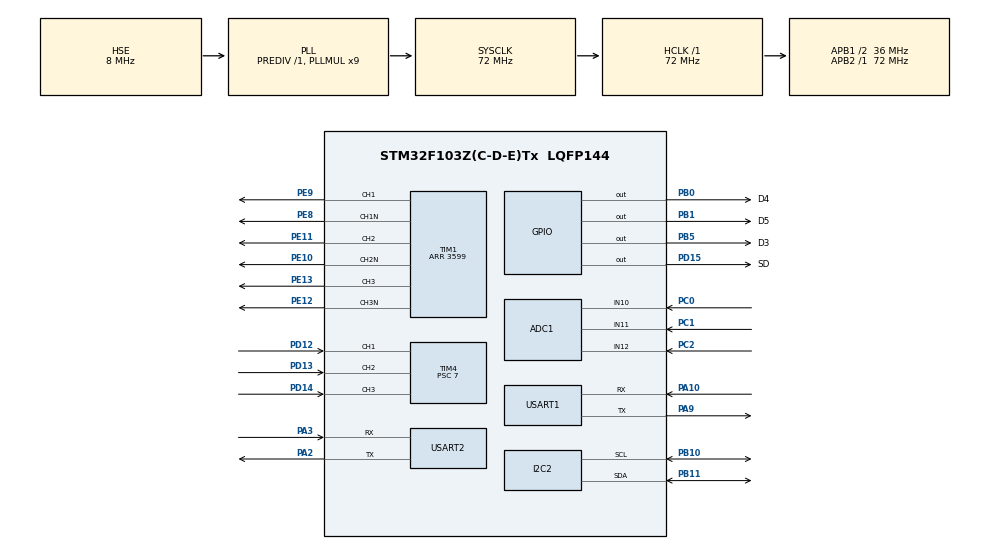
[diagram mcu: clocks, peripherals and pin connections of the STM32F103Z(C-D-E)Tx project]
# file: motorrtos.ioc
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ADC1.Channel-1\#ChannelInjectedConversion=ADC_CHANNEL_10
ADC1.Channel-2\#ChannelInjectedConversion=ADC_CHANNEL_11
ADC1.Channel-3\#ChannelInjectedConversion=ADC_CHANNEL_12
ADC1.EnableInjectedConversion=ENABLE
ADC1.EnableRegularConversion=DISABLE
ADC1.ExternalTrigInjecConv=ADC_EXTERNALTRIGINJECCONV_T1_CC4
ADC1.InjNumberOfConversion=3
ADC1.InjectedOffset-1\#ChannelInjectedConversion=0
ADC1.InjectedOffset-2\#ChannelInjectedConversion=0
ADC1.InjectedOffset-3\#ChannelInjectedConversion=0
ADC1.InjectedRank-1\#ChannelInjectedConversion=1
ADC1.InjectedRank-2\#ChannelInjectedConversion=2
ADC1.InjectedRank-3\#ChannelInjectedConversion=3
ADC1.SamplingTime-1\#ChannelInjectedConversion=ADC_SAMPLETIME_7CYCLES_5
ADC1.SamplingTime-2\#ChannelInjectedConversion=ADC_SAMPLETIME_7CYCLES_5
ADC1.SamplingTime-3\#ChannelInjectedConversion=ADC_SAMPLETIME_7CYCLES_5
ADC1.master=1
Dma.Request0=USART2_TX
Dma.Request1=USART1_RX
Dma.USART1_RX.1.Direction=DMA_PERIPH_TO_MEMORY
Dma.USART1_RX.1.Instance=DMA1_Channel5
Dma.USART1_RX.1.MemDataAlignment=DMA_MDATAALIGN_BYTE
Dma.USART1_RX.1.MemInc=DMA_MINC_ENABLE
Dma.USART1_RX.1.Mode=DMA_NORMAL
Dma.USART1_RX.1.PeriphDataAlignment=DMA_PDATAALIGN_BYTE
Dma.USART1_RX.1.PeriphInc=DMA_PINC_DISABLE
Dma.USART1_RX.1.Priority=DMA_PRIORITY_LOW
Dma.USART2_TX.0.Direction=DMA_MEMORY_TO_PERIPH
Dma.USART2_TX.0.Instance=DMA1_Channel7
Dma.USART2_TX.0.MemDataAlignment=DMA_MDATAALIGN_BYTE
Dma.USART2_TX.0.MemInc=DMA_MINC_ENABLE
Dma.USART2_TX.0.Mode=DMA_NORMAL
Dma.USART2_TX.0.PeriphDataAlignment=DMA_PDATAALIGN_BYTE
Dma.USART2_TX.0.PeriphInc=DMA_PINC_DISABLE
Dma.USART2_TX.0.Priority=DMA_PRIORITY_LOW
I2C2.I2C_Mode=I2C_Fast
Mcu.Family=STM32F1
Mcu.Name=STM32F103Z(C-D-E)Tx
Mcu.Package=LQFP144
NVIC.ADC1_2_IRQn=true\:3\:0\:true\:false\:true\:true\:true
NVIC.DMA1_Channel5_IRQn=true\:5\:0\:true\:false\:true\:false\:true
NVIC.DMA1_Channel7_IRQn=true\:5\:0\:true\:false\:true\:false\:true
NVIC.PriorityGroup=NVIC_PRIORITYGROUP_4
NVIC.TIM2_IRQn=true\:4\:0\:true\:false\:true\:true\:true
NVIC.TIM4_IRQn=true\:2\:0\:true\:false\:true\:true\:true
NVIC.TIM6_IRQn=true\:15\:0\:false\:false\:true\:false\:true
NVIC.TimeBase=TIM6_IRQn
NVIC.TimeBaseIP=TIM6
NVIC.USART1_IRQn=true\:5\:0\:true\:false\:true\:true\:true
NVIC.USART2_IRQn=true\:5\:0\:true\:false\:true\:true\:true
OSC_IN.Mode=HSE-External-Oscillator
OSC_IN.Signal=RCC_OSC_IN
OSC_OUT.Mode=HSE-External-Oscillator
OSC_OUT.Signal=RCC_OSC_OUT
PA10.Mode=Asynchronous
PA10.Signal=USART1_RX
PA13.Mode=Serial_Wire
PA13.Signal=SYS_JTMS-SWDIO
PA14.Mode=Serial_Wire
PA14.Signal=SYS_JTCK-SWCLK
PA2.Mode=Asynchronous
PA2.Signal=USART2_TX
PA3.Mode=Asynchronous
PA3.Signal=USART2_RX
PA9.Mode=Asynchronous
PA9.Signal=USART1_TX
PB0.GPIO_Label=D4
PB0.Signal=GPIO_Output
PB1.GPIO_Label=D5
PB1.Signal=GPIO_Output
PB10.Mode=I2C
PB10.Signal=I2C2_SCL
PB11.Mode=I2C
PB11.Signal=I2C2_SDA
PB5.GPIO_Label=D3
PB5.Signal=GPIO_Output
PC0.Signal=ADCx_IN10
PC1.Signal=ADCx_IN11
PC2.Signal=ADCx_IN12
PD12.Signal=S_TIM4_CH1
PD13.Signal=S_TIM4_CH2
PD14.Signal=S_TIM4_CH3
PD15.GPIO_Label=SD
PD15.Signal=GPIO_Output
PE10.Mode=PWM Generation2 CH2 CH2N
PE10.Signal=TIM1_CH2N
PE11.Signal=S_TIM1_CH2
PE12.Mode=PWM Generation3 CH3 CH3N
PE12.Signal=TIM1_CH3N
PE13.Signal=S_TIM1_CH3
PE8.Mode=PWM Generation1 CH1 CH1N
PE8.Signal=TIM1_CH1N
PE9.Signal=S_TIM1_CH1
ProjectManager.HeapSize=0x200
ProjectManager.StackSize=0x400
ProjectManager.TargetToolchain=MDK-ARM V5.27
RCC.ADCPresc=RCC_ADCPCLK2_DIV6
RCC.AHBFreq_Value=72000000
RCC.APB1CLKDivider=RCC_HCLK_DIV2
RCC.APB1Freq_Value=36000000
RCC.APB1TimFreq_Value=72000000
RCC.APB2Freq_Value=72000000
RCC.APB2TimFreq_Value=72000000
RCC.HCLKFreq_Value=72000000
RCC.PLLMUL=RCC_PLL_MUL9
RCC.PLLSourceVirtual=RCC_PLLSOURCE_HSE
RCC.SYSCLKFreq_VALUE=72000000
RCC.SYSCLKSource=RCC_SYSCLKSOURCE_PLLCLK
RCC.USBFreq_Value=72000000
SH.ADCx_IN10.0=ADC1_IN10,IN10
SH.ADCx_IN11.0=ADC1_IN11,IN11
SH.ADCx_IN12.0=ADC1_IN12,IN12
SH.S_TIM1_CH1.0=TIM1_CH1,PWM Generation1 CH1 CH1N
SH.S_TIM1_CH2.0=TIM1_CH2,PWM Generation2 CH2 CH2N
SH.S_TIM1_CH3.0=TIM1_CH3,PWM Generation3 CH3 CH3N
SH.S_TIM4_CH1.0=TIM4_CH1,Xored_Inputs_Hall_Sensor_Interface
SH.S_TIM4_CH2.0=TIM4_CH2,Xored_Inputs_Hall_Sensor_Interface
SH.S_TIM4_CH3.0=TIM4_CH3,Xored_Inputs_Hall_Sensor_Interface
TIM1.AutomaticOutput=TIM_AUTOMATICOUTPUT_ENABLE
TIM1.Channel-PWM\ Generation1\ CH1\ CH1N=TIM_CHANNEL_1
TIM1.Channel-PWM\ Generation2\ CH2\ CH2N=TIM_CHANNEL_2
TIM1.Channel-PWM\ Generation3\ CH3\ CH3N=TIM_CHANNEL_3
TIM1.Channel-PWM\ Generation4\ No\ Output=TIM_CHANNEL_4
TIM1.CounterMode=TIM_COUNTERMODE_CENTERALIGNED1
TIM1.DeadTime=60
TIM1.OCMode_PWM-PWM\ Generation4\ No\ Output=TIM_OCMODE_PWM2
TIM1.Period=3599
TIM1.Pulse-PWM\ Generation4\ No\ Output=3598
TIM1.RepetitionCounter=1
TIM1.TIM_MasterOutputTrigger=TIM_TRGO_OC4REF
TIM4.IC1Filter=10
TIM4.Prescaler=7
USART1.VirtualMode=VM_ASYNC
USART2.VirtualMode=VM_ASYNC
VP_SYS_VS_tim6.Mode=TIM6
VP_TIM1_VS_ClockSourceINT.Mode=Internal
VP_TIM1_VS_no_output4.Mode=PWM Generation4 No Output
VP_TIM2_VS_ClockSourceINT.Mode=Internal
board=custom

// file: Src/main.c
/* USER CODE BEGIN Header */
/**
  ******************************************************************************
  * @file           : main.c
  * @brief          : Main program body
  ******************************************************************************
  * @attention
  *
  * Copyright (c) 2026 STMicroelectronics.
  * All rights reserved.
  *
  * This software is licensed under terms that can be found in the LICENSE file
  * in the root directory of this software component.
  * If no LICENSE file comes with this software, it is provided AS-IS.
  *
  ******************************************************************************
  */
/* USER CODE END Header */
#include "main.h"
#include "adc.h"
#include "dma.h"
#include "i2c.h"
#include "tim.h"
#include "usart.h"
#include "gpio.h"

/* USER CODE BEGIN Includes */
#include "FreeRTOS.h" // FreeRTOS的核心头文件，必须引用
#include "task.h"  // 任务相关的头文件，必须引用
#include "user_task.h"
#include "FOC.h"
/* USER CODE END Includes */

void SystemClock_Config(void);
/* USER CODE BEGIN PFP */
void moterf_setup(void);
void moterf_stop(void);

/* USER CODE END PFP */

int main(void)
{

  /* MCU Configuration--------------------------------------------------------*/

  /* Reset of all peripherals, Initializes the Flash interface and the Systick. */
  HAL_Init();

  /* Configure the system clock */
  SystemClock_Config();

  /* Initialize all configured peripherals */
  MX_GPIO_Init();
  MX_ADC1_Init();
  MX_TIM1_Init();
  MX_TIM2_Init();
  MX_TIM4_Init();
  MX_DMA_Init();
  MX_USART1_UART_Init();
  MX_USART2_UART_Init();
  MX_I2C2_Init();
  /* USER CODE BEGIN 2 */
	task_init();
	HAL_GPIO_WritePin(GPIOB, D4_Pin, GPIO_PIN_SET);

	//定时器pwm4开启
	HAL_TIM_PWM_Start(&htim1,TIM_CHANNEL_4);
	//定时器4霍尔输入捕获开启
	__HAL_TIM_CLEAR_FLAG(&htim4, TIM_FLAG_CC1);//清一下标志位
  __HAL_TIM_CLEAR_FLAG(&htim4, TIM_FLAG_UPDATE);
	HAL_TIMEx_HallSensor_Start_IT(&htim4);//开霍尔中断
	__HAL_TIM_ENABLE_IT(&htim4, TIM_IT_UPDATE);//开更新中断
  //ADC开启
	HAL_Delay(3000);
	HAL_ADCEx_Calibration_Start(&hadc1);
	HAL_ADCEx_InjectedStart_IT(&hadc1);
	HAL_Delay(300);
	//开输出，及SD
	HAL_TIM_PWM_Start(&htim1,TIM_CHANNEL_1);
	HAL_TIM_PWM_Start(&htim1,TIM_CHANNEL_2);
	HAL_TIM_PWM_Start(&htim1,TIM_CHANNEL_3);
	HAL_TIMEx_PWMN_Start(&htim1,TIM_CHANNEL_1);
	HAL_TIMEx_PWMN_Start(&htim1,TIM_CHANNEL_2);
	HAL_TIMEx_PWMN_Start(&htim1,TIM_CHANNEL_3);
  moterf_setup();

	PID_param_init();

	Motor1.Theta=Start_HallGetTheta();//上电获取一次霍尔角度

	Motor1.Wm_Set=1000;

	HAL_UARTEx_ReceiveToIdle_DMA(&huart1,receivedata,sizeof(receivedata));

	vTaskStartScheduler();//启动调度器
  /* USER CODE END 2 */

  /* Infinite loop */
  while (1)
  {

  }
}

void SystemClock_Config(void)
{
  RCC_OscInitTypeDef RCC_OscInitStruct = {0};
  RCC_ClkInitTypeDef RCC_ClkInitStruct = {0};
  RCC_PeriphCLKInitTypeDef PeriphClkInit = {0};

  /** Initializes the RCC Oscillators according to the specified parameters
  * in the RCC_OscInitTypeDef structure.
  */
  RCC_OscInitStruct.OscillatorType = RCC_OSCILLATORTYPE_HSE;
  RCC_OscInitStruct.HSEState = RCC_HSE_ON;
  RCC_OscInitStruct.HSEPredivValue = RCC_HSE_PREDIV_DIV1;
  RCC_OscInitStruct.HSIState = RCC_HSI_ON;
  RCC_OscInitStruct.PLL.PLLState = RCC_PLL_ON;
  RCC_OscInitStruct.PLL.PLLSource = RCC_PLLSOURCE_HSE;
  RCC_OscInitStruct.PLL.PLLMUL = RCC_PLL_MUL9;
  if (HAL_RCC_OscConfig(&RCC_OscInitStruct) != HAL_OK)
  {
    Error_Handler();
  }
  /** Initializes the CPU, AHB and APB buses clocks
  */
  RCC_ClkInitStruct.ClockType = RCC_CLOCKTYPE_HCLK|RCC_CLOCKTYPE_SYSCLK
                              |RCC_CLOCKTYPE_PCLK1|RCC_CLOCKTYPE_PCLK2;
  RCC_ClkInitStruct.SYSCLKSource = RCC_SYSCLKSOURCE_PLLCLK;
  RCC_ClkInitStruct.AHBCLKDivider = RCC_SYSCLK_DIV1;
  RCC_ClkInitStruct.APB1CLKDivider = RCC_HCLK_DIV2;
  RCC_ClkInitStruct.APB2CLKDivider = RCC_HCLK_DIV1;

  if (HAL_RCC_ClockConfig(&RCC_ClkInitStruct, FLASH_LATENCY_2) != HAL_OK)
  {
    Error_Handler();
  }
  PeriphClkInit.PeriphClockSelection = RCC_PERIPHCLK_ADC;
  PeriphClkInit.AdcClockSelection = RCC_ADCPCLK2_DIV6;
  if (HAL_RCCEx_PeriphCLKConfig(&PeriphClkInit) != HAL_OK)
  {
    Error_Handler();
  }
}

/* USER CODE BEGIN 4 */
void moterf_setup(void)
{
HAL_GPIO_WritePin(SD_GPIO_Port, SD_Pin, GPIO_PIN_SET) ;

}

void moterf_stop(void)
{
  HAL_GPIO_WritePin(SD_GPIO_Port, SD_Pin, GPIO_PIN_RESET) ;
   /* 关闭定时器通道1输出PWM */
	__HAL_TIM_SET_COMPARE(&htim1, TIM_CHANNEL_1, 0);

  /* 关闭定时器通道2输出PWM */
  __HAL_TIM_SET_COMPARE(&htim1, TIM_CHANNEL_2, 0);

  /* 关闭定时器通道3输出PWM */
  __HAL_TIM_SET_COMPARE(&htim1, TIM_CHANNEL_3, 0);

	 __HAL_TIM_SET_COMPARE(&htim1, TIM_CHANNEL_4, 0);

  HAL_GPIO_WritePin(GPIOE, GPIO_PIN_8, GPIO_PIN_RESET);    // 关闭下桥臂
  HAL_GPIO_WritePin(GPIOE, GPIO_PIN_10, GPIO_PIN_RESET);    // 关闭下桥臂
  HAL_GPIO_WritePin(GPIOE, GPIO_PIN_12, GPIO_PIN_RESET);    // 关闭下桥臂

	HAL_TIMEx_HallSensor_Stop(&htim4);

}

/* USER CODE END 4 */

void HAL_TIM_PeriodElapsedCallback(TIM_HandleTypeDef *htim)
{
  if (htim->Instance == TIM6) {
    HAL_IncTick();
  }
}

void Error_Handler(void)
{
  __disable_irq();
  while (1)
  {
  }
}
